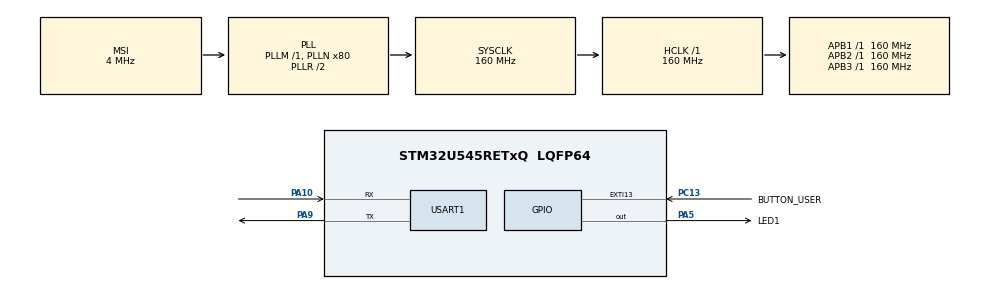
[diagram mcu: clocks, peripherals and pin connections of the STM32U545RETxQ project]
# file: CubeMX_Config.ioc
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CORTEX_M33_NS.userName=CORTEX_M33
Mcu.Family=STM32U5
Mcu.Name=STM32U545RETxQ
Mcu.Package=LQFP64
NVIC.EXTI13_IRQn=true\:0\:0\:false\:false\:true\:false\:true\:true\:true
NVIC.PriorityGroup=NVIC_PRIORITYGROUP_4
NVIC.TIM6_IRQn=true\:15\:0\:false\:false\:true\:false\:false\:true\:true
NVIC.TimeBase=TIM6_IRQn
NVIC.TimeBaseIP=TIM6
PA10.Mode=Asynchronous
PA10.Signal=USART1_RX
PA13\ (JTMS/SWDIO).Signal=DEBUG_JTMS-SWDIO
PA14\ (JTCK/SWCLK).Signal=DEBUG_JTCK-SWCLK
PA5.GPIO_Label=LED1
PA5.GPIO_Speed=GPIO_SPEED_FREQ_HIGH
PA5.Signal=GPIO_Output
PA9.Mode=Asynchronous
PA9.Signal=USART1_TX
PC13.GPIO_Label=BUTTON_USER
PC13.Signal=GPXTI13
PWR.PowerMode=PWR_SMPS_SUPPLY
ProjectManager.HeapSize=0x200
ProjectManager.StackSize=0x400
ProjectManager.TargetToolchain=EWARM V8.50
RCC.ADCFreq_Value=16000000
RCC.AHBFreq_Value=160000000
RCC.APB1Freq_Value=160000000
RCC.APB1TimFreq_Value=160000000
RCC.APB2Freq_Value=160000000
RCC.APB2TimFreq_Value=160000000
RCC.APB3Freq_Value=160000000
RCC.CortexFreq_Value=160000000
RCC.DACCLockSelectionVirtual=RCC_DAC1CLKSOURCE_LSI
RCC.DACCLockSelectionVirtualString=RCC_DAC1CLKSOURCE_LSI
RCC.EPOD_VALUE=4000000
RCC.HCLKFreq_Value=160000000
RCC.HSE_VALUE=16000000
RCC.HSI48_VALUE=48000000
RCC.HSI_VALUE=16000000
RCC.LSE_VALUE=32768
RCC.LSIDIV_VALUE=32000
RCC.MSI_VALUE=4000000
RCC.PLLN=80
RCC.SYSCLKFreq_VALUE=160000000
RCC.SYSCLKSource=RCC_SYSCLKSOURCE_PLLCLK
RCC.USBFreq_Value=48000000
RCC.VCOOutputFreq_Value=320000000
THREADX.TX_APP_CREATION=1
THREADX.TX_APP_GENERATE_INIT_CODE=true
THREADX.TX_APP_MEM_POOL_SIZE=(3 * 1024)
THREADX.TX_APP_SEM_CREATION=1
THREADX.TX_APP_THREAD_ENTRY=MainThread_Entry
THREADX.TX_APP_THREAD_NAME=Main Thread
THREADX.TX_LOW_POWER=1
THREADX.TX_LOW_POWER_TIMER_SETUP=\
THREADX.TX_LOW_POWER_USER_TIMER_ADJUST=\
THREADX.TX_SEMAPHORE_NAME=Semaphore
USART1.VirtualMode-Asynchronous=VM_ASYNC
VP_ICACHE_VS_ICACHE.Mode=DirectMappedCache
VP_PWR_VS_DBSignals.Mode=DisableDeadBatterySignals
VP_PWR_VS_LPOM.Mode=PowerOptimisation
VP_PWR_VS_SECSignals.Mode=Security/Privilege
VP_SYS_VS_tim6.Mode=TIM6
VP_THREADX_VS_RTOSJjThreadXJjCoreJjDefault.Mode=Core_Default
VP_THREADX_VS_RTOSJjThreadXJjLow_Power_Support.Mode=Low_Power_Support
board=custom

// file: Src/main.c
/* USER CODE BEGIN Header */
/**
  ******************************************************************************
  * @file           : main.c
  * @brief          : Main program body
  ******************************************************************************
  * @attention
  *
  * Copyright (c) 2023 STMicroelectronics.
  * All rights reserved.
  *
  * This software is licensed under terms that can be found in the LICENSE file
  * in the root directory of this software component.
  * If no LICENSE file comes with this software, it is provided AS-IS.
  *
  ******************************************************************************
  */
/* USER CODE END Header */
// #include "app_threadx.h"
#include "main.h"

/* USER CODE BEGIN Includes */
#if defined(__ICCARM__)
#include <LowLevelIOInterface.h>
#endif /* __ICCARM__ */
/* USER CODE END Includes */

UART_HandleTypeDef huart1;

void SystemClock_Config(void);
static void SystemPower_Config(void);
static void MX_ICACHE_Init(void);
static void MX_USART1_UART_Init(void);
/* USER CODE BEGIN PFP */
#if defined(__ICCARM__)
/* New definition from EWARM V9, compatible with EWARM8 */
int iar_fputc(int ch);
#define PUTCHAR_PROTOTYPE int iar_fputc(int ch)
#elif defined ( __GNUC__) && !defined(__clang__)
/* With GCC, small printf (option LD Linker->Libraries->Small printf
   set to 'Yes') calls __io_putchar() */
#define PUTCHAR_PROTOTYPE int __io_putchar(int ch)
#else
#define PUTCHAR_PROTOTYPE int fputc(int ch, FILE *f)
#endif /* __ICCARM__ */
/* USER CODE END PFP */

int main(void)
{

  /* MCU Configuration--------------------------------------------------------*/

  /* Reset of all peripherals, Initializes the Flash interface and the Systick. */
  HAL_Init();

  /* Configure the system clock */
  SystemClock_Config();

  /* Configure the System Power */
  SystemPower_Config();

  /* Initialize all configured peripherals */
  MX_GPIO_Init();
  MX_ICACHE_Init();
  MX_USART1_UART_Init();

  MX_ThreadX_Init();

  /* We should never get here as control is now taken by the scheduler */

  /* Infinite loop */
  while (1)
  {

  }
}

void SystemClock_Config(void)
{
  RCC_OscInitTypeDef RCC_OscInitStruct = {0};
  RCC_ClkInitTypeDef RCC_ClkInitStruct = {0};

  /** Configure the main internal regulator output voltage
  */
  if (HAL_PWREx_ControlVoltageScaling(PWR_REGULATOR_VOLTAGE_SCALE1) != HAL_OK)
  {
    Error_Handler();
  }

  /** Initializes the CPU, AHB and APB buses clocks
  */
  RCC_OscInitStruct.OscillatorType = RCC_OSCILLATORTYPE_MSI;
  RCC_OscInitStruct.MSIState = RCC_MSI_ON;
  RCC_OscInitStruct.MSICalibrationValue = RCC_MSICALIBRATION_DEFAULT;
  RCC_OscInitStruct.MSIClockRange = RCC_MSIRANGE_4;
  RCC_OscInitStruct.PLL.PLLState = RCC_PLL_ON;
  RCC_OscInitStruct.PLL.PLLSource = RCC_PLLSOURCE_MSI;
  RCC_OscInitStruct.PLL.PLLMBOOST = RCC_PLLMBOOST_DIV1;
  RCC_OscInitStruct.PLL.PLLM = 1;
  RCC_OscInitStruct.PLL.PLLN = 80;
  RCC_OscInitStruct.PLL.PLLP = 2;
  RCC_OscInitStruct.PLL.PLLQ = 2;
  RCC_OscInitStruct.PLL.PLLR = 2;
  RCC_OscInitStruct.PLL.PLLRGE = RCC_PLLVCIRANGE_0;
  RCC_OscInitStruct.PLL.PLLFRACN = 0;
  if (HAL_RCC_OscConfig(&RCC_OscInitStruct) != HAL_OK)
  {
    Error_Handler();
  }

  /** Initializes the CPU, AHB and APB buses clocks
  */
  RCC_ClkInitStruct.ClockType = RCC_CLOCKTYPE_HCLK|RCC_CLOCKTYPE_SYSCLK
                              |RCC_CLOCKTYPE_PCLK1|RCC_CLOCKTYPE_PCLK2
                              |RCC_CLOCKTYPE_PCLK3;
  RCC_ClkInitStruct.SYSCLKSource = RCC_SYSCLKSOURCE_PLLCLK;
  RCC_ClkInitStruct.AHBCLKDivider = RCC_SYSCLK_DIV1;
  RCC_ClkInitStruct.APB1CLKDivider = RCC_HCLK_DIV1;
  RCC_ClkInitStruct.APB2CLKDivider = RCC_HCLK_DIV1;
  RCC_ClkInitStruct.APB3CLKDivider = RCC_HCLK_DIV1;

  if (HAL_RCC_ClockConfig(&RCC_ClkInitStruct, FLASH_LATENCY_4) != HAL_OK)
  {
    Error_Handler();
  }
}

/**
  * @brief Power Configuration
  * @retval None
  */
static void SystemPower_Config(void)
{

  /*
   * Switch to SMPS regulator instead of LDO
   */
  if (HAL_PWREx_ConfigSupply(PWR_SMPS_SUPPLY) != HAL_OK)
  {
    Error_Handler();
  }
}

static void MX_ICACHE_Init(void)
{

  /** Enable instruction cache in 1-way (direct mapped cache)
  */
  if (HAL_ICACHE_ConfigAssociativityMode(ICACHE_1WAY) != HAL_OK)
  {
    Error_Handler();
  }
  if (HAL_ICACHE_Enable() != HAL_OK)
  {
    Error_Handler();
  }

}

static void MX_USART1_UART_Init(void)
{

  huart1.Instance = USART1;
  huart1.Init.BaudRate = 115200;
  huart1.Init.WordLength = UART_WORDLENGTH_8B;
  huart1.Init.StopBits = UART_STOPBITS_1;
  huart1.Init.Parity = UART_PARITY_NONE;
  huart1.Init.Mode = UART_MODE_TX_RX;
  huart1.Init.HwFlowCtl = UART_HWCONTROL_NONE;
  huart1.Init.OverSampling = UART_OVERSAMPLING_16;
  huart1.Init.OneBitSampling = UART_ONE_BIT_SAMPLE_DISABLE;
  huart1.Init.ClockPrescaler = UART_PRESCALER_DIV1;
  huart1.AdvancedInit.AdvFeatureInit = UART_ADVFEATURE_NO_INIT;
  if (HAL_UART_Init(&huart1) != HAL_OK)
  {
    Error_Handler();
  }
  if (HAL_UARTEx_SetTxFifoThreshold(&huart1, UART_TXFIFO_THRESHOLD_1_8) != HAL_OK)
  {
    Error_Handler();
  }
  if (HAL_UARTEx_SetRxFifoThreshold(&huart1, UART_RXFIFO_THRESHOLD_1_8) != HAL_OK)
  {
    Error_Handler();
  }
  if (HAL_UARTEx_DisableFifoMode(&huart1) != HAL_OK)
  {
    Error_Handler();
  }

}

void MX_GPIO_Init(void)
{
  GPIO_InitTypeDef GPIO_InitStruct = {0};

  /* GPIO Ports Clock Enable */
  __HAL_RCC_GPIOC_CLK_ENABLE();
  __HAL_RCC_GPIOA_CLK_ENABLE();

  /*Configure GPIO pin Output Level */
  HAL_GPIO_WritePin(LED1_GPIO_Port, LED1_Pin, GPIO_PIN_RESET);

  /*Configure GPIO pin : BUTTON_USER_Pin */
  GPIO_InitStruct.Pin = BUTTON_USER_Pin;
  GPIO_InitStruct.Mode = GPIO_MODE_IT_RISING;
  GPIO_InitStruct.Pull = GPIO_NOPULL;
  HAL_GPIO_Init(BUTTON_USER_GPIO_Port, &GPIO_InitStruct);

  /*Configure GPIO pin : LED1_Pin */
  GPIO_InitStruct.Pin = LED1_Pin;
  GPIO_InitStruct.Mode = GPIO_MODE_OUTPUT_PP;
  GPIO_InitStruct.Pull = GPIO_NOPULL;
  GPIO_InitStruct.Speed = GPIO_SPEED_FREQ_HIGH;
  HAL_GPIO_Init(LED1_GPIO_Port, &GPIO_InitStruct);

  /* EXTI interrupt init*/
  HAL_NVIC_SetPriority(EXTI13_IRQn, 0, 0);
  HAL_NVIC_EnableIRQ(EXTI13_IRQn);

}

/* USER CODE BEGIN 4 */
/**
  * @brief  Retargets the C library __write function to the IAR function iar_fputc.
  * @param  file: file descriptor.
  * @param  ptr: pointer to the buffer where the data is stored.
  * @param  len: length of the data to write in bytes.
  * @retval length of the written data in bytes.
  */
#if defined(__ICCARM__)
size_t __write(int file, unsigned char const *ptr, size_t len)
{
  size_t idx;
  unsigned char const *pdata = ptr;

  for (idx = 0; idx < len; idx++)
  {
    iar_fputc((int)*pdata);
    pdata++;
  }
  return len;
}
#endif /* __ICCARM__ */

/**
  * @brief  Retargets the C library printf function to the USART.
  */
PUTCHAR_PROTOTYPE
{
  /* Place your implementation of fputc here */
  /* e.g. write a character to the USART1 and Loop until the end of transmission */
  HAL_UART_Transmit(&huart1, (uint8_t *)&ch, 1, 0xFFFF);

  return ch;
}
/* USER CODE END 4 */

void HAL_TIM_PeriodElapsedCallback(TIM_HandleTypeDef *htim)
{
  if (htim->Instance == TIM6) {
    HAL_IncTick();
  }
}

void Error_Handler(void)
{
  /* USER CODE BEGIN Error_Handler_Debug */

  HAL_GPIO_WritePin(LED1_GPIO_Port, LED1_Pin, GPIO_PIN_RESET);
  printf("** Error occurred ** \n\r");
  while (1)
  {
  }
  /* USER CODE END Error_Handler_Debug */
}
